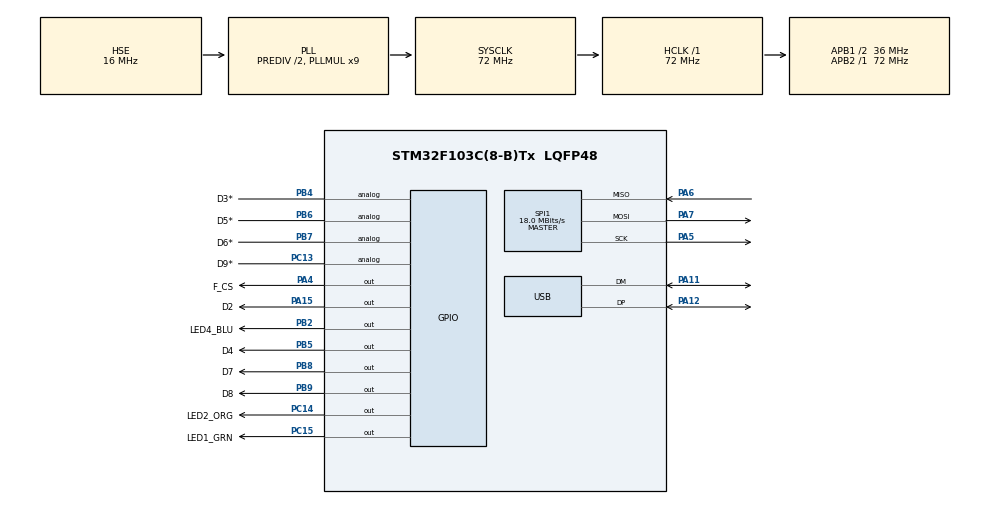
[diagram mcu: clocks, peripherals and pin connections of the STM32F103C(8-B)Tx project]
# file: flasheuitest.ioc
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FATFS._CODE_PAGE=1
FATFS._FS_TINY=1
FATFS._LFN_UNICODE=0
FATFS._MAX_SS=4096
FATFS._MIN_SS=4096
FATFS._STRF_ENCODE=0
FATFS._USE_LFN=0
FATFS._WORD_ACCESS=1
Mcu.Family=STM32F1
Mcu.Name=STM32F103C(8-B)Tx
Mcu.Package=LQFP48
NVIC.PriorityGroup=NVIC_PRIORITYGROUP_4
NVIC.USB_LP_CAN1_RX0_IRQn=true\:0\:0\:false\:false\:true\:false\:true\:true
PA0-WKUP.GPIO_Label=A0
PA0-WKUP.Signal=ADCx_IN0
PA1.GPIO_Label=A1
PA1.Signal=ADCx_IN1
PA11.Mode=Device
PA11.Signal=USB_DM
PA12.Mode=Device
PA12.Signal=USB_DP
PA13.Mode=Trace_Asynchronous_SW
PA13.Signal=SYS_JTMS-SWDIO
PA14.Mode=Trace_Asynchronous_SW
PA14.Signal=SYS_JTCK-SWCLK
PA15.GPIO_Label=D2
PA15.Signal=GPIO_Output
PA2.GPIO_Label=A2
PA2.Signal=ADCx_IN2
PA3.GPIO_Label=A3
PA3.Signal=ADCx_IN3
PA4.GPIO_Label=F_CS
PA4.Signal=GPIO_Output
PA5.Mode=Full_Duplex_Master
PA5.Signal=SPI1_SCK
PA6.Mode=Full_Duplex_Master
PA6.Signal=SPI1_MISO
PA7.Mode=Full_Duplex_Master
PA7.Signal=SPI1_MOSI
PA8.GPIO_Label=LED3_RED
PA8.Signal=S_TIM1_CH1
PB0.GPIO_Label=A6
PB0.Signal=ADCx_IN8
PB1.GPIO_Label=A7
PB1.Signal=ADCx_IN9
PB2.GPIO_Label=LED4_BLU
PB2.Signal=GPIO_Output
PB3.Mode=Trace_Asynchronous_SW
PB3.Signal=SYS_JTDO-TRACESWO
PB4.GPIO_Label=D3*
PB4.Signal=GPIO_Analog
PB5.GPIO_Label=D4
PB5.Signal=GPIO_Output
PB6.GPIO_Label=D5*
PB6.Signal=GPIO_Analog
PB7.GPIO_Label=D6*
PB7.Signal=GPIO_Analog
PB8.GPIO_Label=D7
PB8.Signal=GPIO_Output
PB9.GPIO_Label=D8
PB9.Signal=GPIO_Output
PC13-TAMPER-RTC.GPIO_Label=D9*
PC13-TAMPER-RTC.Signal=GPIO_Analog
PC14-OSC32_IN.GPIO_Label=LED2_ORG
PC14-OSC32_IN.Signal=GPIO_Output
PC15-OSC32_OUT.GPIO_Label=LED1_GRN
PC15-OSC32_OUT.Signal=GPIO_Output
PD0-OSC_IN.Mode=HSE-External-Oscillator
PD0-OSC_IN.Signal=RCC_OSC_IN
PD1-OSC_OUT.Mode=HSE-External-Oscillator
PD1-OSC_OUT.Signal=RCC_OSC_OUT
ProjectManager.HeapSize=0x200
ProjectManager.StackSize=0x400
ProjectManager.TargetToolchain=STM32CubeIDE
RCC.ADCPresc=RCC_ADCPCLK2_DIV6
RCC.AHBFreq_Value=72000000
RCC.APB1CLKDivider=RCC_HCLK_DIV2
RCC.APB1Freq_Value=36000000
RCC.APB1TimFreq_Value=72000000
RCC.APB2Freq_Value=72000000
RCC.APB2TimFreq_Value=72000000
RCC.HCLKFreq_Value=72000000
RCC.HSEDivPLL=RCC_HSE_PREDIV_DIV2
RCC.HSE_VALUE=16000000
RCC.PLLMUL=RCC_PLL_MUL9
RCC.PLLSourceVirtual=RCC_PLLSOURCE_HSE
RCC.SYSCLKFreq_VALUE=72000000
RCC.SYSCLKSource=RCC_SYSCLKSOURCE_PLLCLK
RCC.USBFreq_Value=48000000
RCC.USBPrescaler=RCC_USBCLKSOURCE_PLL_DIV1_5
SH.ADCx_IN0.0=ADC1_IN0
SH.ADCx_IN1.0=ADC1_IN1
SH.ADCx_IN2.0=ADC1_IN2
SH.ADCx_IN3.0=ADC1_IN3
SH.ADCx_IN8.0=ADC1_IN8
SH.ADCx_IN9.0=ADC1_IN9
SH.S_TIM1_CH1.0=TIM1_CH1
SPI1.BaudRatePrescaler=SPI_BAUDRATEPRESCALER_4
SPI1.CalculateBaudRate=18.0 MBits/s
SPI1.Direction=SPI_DIRECTION_2LINES
SPI1.Mode=SPI_MODE_MASTER
SPI1.VirtualType=VM_MASTER
USB_DEVICE.CLASS_NAME_FS=MSC
USB_DEVICE.MANUFACTURER_STRING=easy-smart solution GmbH
USB_DEVICE.MSC_MEDIA_PACKET=4096
USB_DEVICE.PRODUCT_STRING_MSC_FS=easy-smart.ch Mass Storage
USB_DEVICE.USBD_MAX_NUM_INTERFACES=1
USB_DEVICE.VirtualMode=Msc
USB_DEVICE.VirtualModeFS=Msc_FS
VP_FATFS_VS_Generic.Mode=User_defined
VP_USB_DEVICE_VS_USB_DEVICE_MSC_FS.Mode=MSC_FS
board=custom

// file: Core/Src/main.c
/* USER CODE BEGIN Header */
/**
  ******************************************************************************
  * @file           : main.c
  * @brief          : Main program body
  ******************************************************************************
  * @attention
  *
  * Copyright (c) 2023 STMicroelectronics.
  * All rights reserved.
  *
  * This software is licensed under terms that can be found in the LICENSE file
  * in the root directory of this software component.
  * If no LICENSE file comes with this software, it is provided AS-IS.
  *
  ******************************************************************************
  */
/* USER CODE END Header */
#include "main.h"
#include "fatfs.h"
#include "spi.h"
#include "usb_device.h"
#include "gpio.h"

/* USER CODE BEGIN PV */
// 25AA040A instructions
const uint8_t EEPROM_READ = 0b00000011;
const uint8_t EEPROM_WRITE = 0b00000010;
const uint8_t EEPROM_WRDI = 0b00000100;
const uint8_t EEPROM_WREN = 0b00000110;
const uint8_t EEPROM_RDSR = 0b00000101;
const uint8_t EEPROM_WRSR = 0b00000001;
const uint8_t EEPROM_SFDP = 0x5a;

/* USER CODE END PV */

void SystemClock_Config(void);

/* USER CODE BEGIN 0 */
unsigned char SPI_SFDP_Read(uint32_t addr)
{
    unsigned char buf[1];

    HAL_GPIO_WritePin(F_CS_GPIO_Port, F_CS_Pin, GPIO_PIN_RESET);
    HAL_SPI_Transmit(&hspi1, (uint8_t *)&EEPROM_SFDP, 1, 100);

    uint8_t tmp=0;
    tmp=((addr & 0xFFFFFF) >> 16);
    HAL_SPI_Transmit(&hspi1, (uint8_t *)&tmp, 1, 100);
    tmp=(((addr & 0xFFFF) >> 8));
    HAL_SPI_Transmit(&hspi1, (uint8_t *)&tmp, 1, 100);
    tmp=(addr & 0xFF);
    HAL_SPI_Transmit(&hspi1, (uint8_t *)&tmp, 1, 100);
    tmp=0xFF;
    HAL_SPI_Transmit(&hspi1, (uint8_t *)&tmp, 1, 100);

//    addr=addr<<8;
//    HAL_SPI_Transmit(&hspi1, (uint8_t *)&addr, 4, 100);

    HAL_SPI_Receive(&hspi1, (uint8_t *)buf, sizeof(buf) / sizeof(buf[0]), 100);
    HAL_GPIO_WritePin(F_CS_GPIO_Port, F_CS_Pin, GPIO_PIN_SET);
    return buf[0];
}

/* USER CODE END 0 */

int main(void)
{
  /* USER CODE BEGIN 1 */
  DBG=Debugger_create(0);
  /* USER CODE END 1 */

  /* MCU Configuration--------------------------------------------------------*/

  /* Reset of all peripherals, Initializes the Flash interface and the Systick. */
  HAL_Init();

  /* Configure the system clock */
  SystemClock_Config();

  /* Initialize all configured peripherals */
  MX_GPIO_Init();
  MX_SPI1_Init();
  MX_USB_DEVICE_Init();
  MX_FATFS_Init();

  /* Infinite loop */
  /* USER CODE BEGIN WHILE */

    HAL_GPIO_WritePin(LED1_GRN_GPIO_Port,LED1_GRN_Pin,GPIO_PIN_SET);
    HAL_GPIO_WritePin(LED2_ORG_GPIO_Port,LED2_ORG_Pin,GPIO_PIN_SET);
    HAL_GPIO_WritePin(LED3_RED_GPIO_Port,LED3_RED_Pin,GPIO_PIN_SET);
    HAL_GPIO_WritePin(LED4_BLU_GPIO_Port,LED4_BLU_Pin,GPIO_PIN_SET);

    uint8_t pwmset=0;
    uint16_t time=0;
    uint8_t timeflag=0;
    uint8_t timecount=0;

    uint32_t tick1=0;

    char spi_buf[20];

    // CS PIN
    HAL_GPIO_WritePin(F_CS_GPIO_Port, F_CS_Pin, GPIO_PIN_SET);

    // Enable write enable latch (allow write operations)
    HAL_GPIO_WritePin(F_CS_GPIO_Port, F_CS_Pin, GPIO_PIN_RESET);
    HAL_SPI_Transmit(&hspi1, (uint8_t *)&EEPROM_WREN, 1, 100);
    HAL_GPIO_WritePin(F_CS_GPIO_Port, F_CS_Pin, GPIO_PIN_SET);

    // Read status register
    HAL_GPIO_WritePin(F_CS_GPIO_Port, F_CS_Pin, GPIO_PIN_RESET);
    HAL_SPI_Transmit(&hspi1, (uint8_t *)&EEPROM_RDSR, 1, 100);
    HAL_SPI_Receive(&hspi1, (uint8_t *)spi_buf, 1, 100);
    HAL_GPIO_WritePin(F_CS_GPIO_Port, F_CS_Pin, GPIO_PIN_SET);

    // Print out status register
    Debugger_log(DBG, "Status: 0x%x\n", (unsigned int)spi_buf[0]);

    unsigned char EUI48_Octet5, EUI48_Octet4, EUI48_Octet3, EUI48_Octet2, EUI48_Octet1, EUI48_Octet0;
    EUI48_Octet0=SPI_SFDP_Read(0x261);
    EUI48_Octet1=SPI_SFDP_Read(0x262);
    EUI48_Octet2=SPI_SFDP_Read(0x263);
    EUI48_Octet3=SPI_SFDP_Read(0x264);
    EUI48_Octet4=SPI_SFDP_Read(0x265);
    EUI48_Octet5=SPI_SFDP_Read(0x266);

    // Print out MAC address
    Debugger_log(DBG, "MAC: %02x:%02x:%02x:%02x:%02x:%02x\n", (unsigned int)EUI48_Octet0, (unsigned int)EUI48_Octet1, (unsigned int)EUI48_Octet2, (unsigned int)EUI48_Octet3, (unsigned int)EUI48_Octet4, (unsigned int)EUI48_Octet5);

    while (1)
  {
      if(tick1 - HAL_GetTick() > 10) {
          tick1 = HAL_GetTick();

          /* LED4_BLU Breathing Lamp test */
          /* Breathing Lamp */
          if (timeflag == 0) {
              time++;
              if (time >= 1600) timeflag = 1;
          } else {
              time--;
              if (time == 0) timeflag = 0;
          }

          /* Duty Cycle Setting */
          pwmset = time / 80;

          /* 20ms Pulse Width */
          if (timecount > 20) timecount = 0;
          else timecount++;

          if (timecount >= pwmset) HAL_GPIO_WritePin(LED4_BLU_GPIO_Port, LED4_BLU_Pin, GPIO_PIN_SET);
          else HAL_GPIO_WritePin(LED4_BLU_GPIO_Port, LED4_BLU_Pin, GPIO_PIN_RESET);
      }

      /* USER CODE END WHILE */

  }
}

void SystemClock_Config(void)
{
  RCC_OscInitTypeDef RCC_OscInitStruct = {0};
  RCC_ClkInitTypeDef RCC_ClkInitStruct = {0};
  RCC_PeriphCLKInitTypeDef PeriphClkInit = {0};

  /** Initializes the RCC Oscillators according to the specified parameters
  * in the RCC_OscInitTypeDef structure.
  */
  RCC_OscInitStruct.OscillatorType = RCC_OSCILLATORTYPE_HSE;
  RCC_OscInitStruct.HSEState = RCC_HSE_ON;
  RCC_OscInitStruct.HSEPredivValue = RCC_HSE_PREDIV_DIV2;
  RCC_OscInitStruct.HSIState = RCC_HSI_ON;
  RCC_OscInitStruct.PLL.PLLState = RCC_PLL_ON;
  RCC_OscInitStruct.PLL.PLLSource = RCC_PLLSOURCE_HSE;
  RCC_OscInitStruct.PLL.PLLMUL = RCC_PLL_MUL9;
  if (HAL_RCC_OscConfig(&RCC_OscInitStruct) != HAL_OK)
  {
    Error_Handler();
  }

  /** Initializes the CPU, AHB and APB buses clocks
  */
  RCC_ClkInitStruct.ClockType = RCC_CLOCKTYPE_HCLK|RCC_CLOCKTYPE_SYSCLK
                              |RCC_CLOCKTYPE_PCLK1|RCC_CLOCKTYPE_PCLK2;
  RCC_ClkInitStruct.SYSCLKSource = RCC_SYSCLKSOURCE_PLLCLK;
  RCC_ClkInitStruct.AHBCLKDivider = RCC_SYSCLK_DIV1;
  RCC_ClkInitStruct.APB1CLKDivider = RCC_HCLK_DIV2;
  RCC_ClkInitStruct.APB2CLKDivider = RCC_HCLK_DIV1;

  if (HAL_RCC_ClockConfig(&RCC_ClkInitStruct, FLASH_LATENCY_2) != HAL_OK)
  {
    Error_Handler();
  }
  PeriphClkInit.PeriphClockSelection = RCC_PERIPHCLK_USB;
  PeriphClkInit.UsbClockSelection = RCC_USBCLKSOURCE_PLL_DIV1_5;
  if (HAL_RCCEx_PeriphCLKConfig(&PeriphClkInit) != HAL_OK)
  {
    Error_Handler();
  }
}

void Error_Handler(void)
{
  __disable_irq();
  while (1)
  {
  }
}
